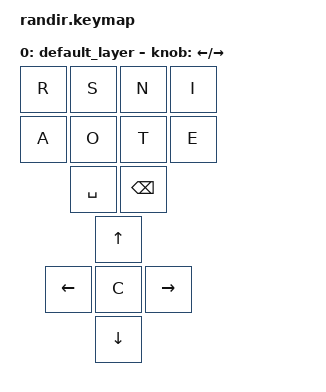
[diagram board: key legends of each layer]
/*
 * Copyright (c) 2020 The ZMK Contributors
 *
 * SPDX-License-Identifier: MIT
 */




#include <behaviors.dtsi>
#include <dt-bindings/zmk/keys.h>
#include <dt-bindings/zmk/bt.h>
#include <dt-bindings/zmk/outputs.h>
//#include <dt-bindings/zmk/ext_power.h>



&sk {
     release-after-ms = <2000>;
     quick-release;
 };

/ {

	macros {
		ZMK_MACRO(m_qu,					wait-ms = <5>;	tap-ms = <5>;		bindings = <&kp Q &kp U>;)
		ZMK_MACRO(m_upper_Qu,			wait-ms = <5>;	tap-ms = <5>;		bindings = <&kp LS(Q) &kp U>;)
		ZMK_MACRO(m_elipsis,			wait-ms = <5>;	tap-ms = <5>;		bindings = <&macro_press	&kp LALT>
    																			, <&macro_tap			&kp KP_N0 &kp KP_N1 &kp KP_N3 &kp KP_N3>
    																			, <&macro_release		&kp LALT &kp SPACE>;)
		ZMK_MACRO(m_degree,				wait-ms = <5>;	tap-ms = <5>;		bindings = <&macro_press	&kp LALT>
    																			, <&macro_tap			&kp KP_N0 &kp KP_N1 &kp KP_N7 &kp KP_N6>
    																			, <&macro_release		&kp LALT>;)
		ZMK_MACRO(m_textIndent,			wait-ms = <5>;	tap-ms = <5>;		bindings = <&kp SPACE &kp MINUS &kp SPACE &kp HOME &kp DOWN >;)		

//		RESPONSIVE ARROWS
		//ZMK_MACRO(m_UP,					ait-ms = <5>;	tap-ms = <5>;		bindings = <&macro_press	&kp UP>;)
																				//, <&macro_tap			&kp UP>
    																			//, <&macro_release		&kp UP>;)

//		RANDOM MACROS
		ZMK_MACRO(m_password1,			wait-ms = <5>;	tap-ms = <5>;		bindings = <&kp A &kp B &kp O &kp U &kp T >;)
		ZMK_MACRO(m_password2,				wait-ms = <5>;	tap-ms = <5>;		bindings = <&kp A &kp B &kp O &kp U &kp T >;)


//		WORD PARTS		
		ZMK_MACRO(m_able,				wait-ms = <5>;	tap-ms = <5>;		bindings = <&kp A &kp B &kp L &kp E >;)
		ZMK_MACRO(m_about,				wait-ms = <5>;	tap-ms = <5>;		bindings = <&kp A &kp B &kp O &kp U &kp T >;)
		ZMK_MACRO(m_ack,				wait-ms = <5>;	tap-ms = <5>;		bindings = <&kp A &kp C &kp K >;)
		ZMK_MACRO(m_aise,				wait-ms = <5>;	tap-ms = <5>;		bindings = <&kp A &kp I &kp S &kp E >;)
		ZMK_MACRO(m_ake,				wait-ms = <5>;	tap-ms = <5>;		bindings = <&kp A &kp K &kp E >;)
		ZMK_MACRO(m_al,					wait-ms = <5>;	tap-ms = <5>;		bindings = <&kp A &kp L >;)
		ZMK_MACRO(m_all,				wait-ms = <5>;	tap-ms = <5>;		bindings = <&kp A &kp L &kp L >;)
		ZMK_MACRO(m_ally,				wait-ms = <5>;	tap-ms = <5>;		bindings = <&kp A &kp L &kp L &kp Y >;)
		ZMK_MACRO(m_also,				wait-ms = <5>;	tap-ms = <5>;		bindings = <&kp A &kp L &kp S &kp O >;)
		ZMK_MACRO(m_and,				wait-ms = <5>;	tap-ms = <5>;		bindings = <&kp A &kp N &kp D >;)
		ZMK_MACRO(m_ange,				wait-ms = <5>;	tap-ms = <5>;		bindings = <&kp A &kp N &kp G &kp E >;)
		ZMK_MACRO(m_are,				wait-ms = <5>;	tap-ms = <5>;		bindings = <&kp A &kp R &kp E >;)
		ZMK_MACRO(m_ation,				wait-ms = <5>;	tap-ms = <5>;		bindings = <&kp A &kp T &kp I &kp O &kp N >;)
		ZMK_MACRO(m_ative,				wait-ms = <5>;	tap-ms = <5>;		bindings = <&kp A &kp T &kp I &kp V &kp E >;)
		ZMK_MACRO(m_ave,				wait-ms = <5>;	tap-ms = <5>;		bindings = <&kp A &kp V &kp E >;)
		
		ZMK_MACRO(m_be,					wait-ms = <5>;	tap-ms = <5>;		bindings = <&kp B &kp E >;)
		ZMK_MACRO(m_because,			wait-ms = <5>;	tap-ms = <5>;		bindings = <&kp B &kp E &kp C &kp A &kp U &kp S &kp E >;)
		
		ZMK_MACRO(m_ch,					wait-ms = <5>;	tap-ms = <5>;		bindings = <&kp C &kp H >;)
		
		ZMK_MACRO(m_day,				wait-ms = <5>;	tap-ms = <5>;		bindings = <&kp D &kp A &kp Y >;)
		ZMK_MACRO(m_dis,				wait-ms = <5>;	tap-ms = <5>;		bindings = <&kp D &kp I &kp S >;)
	
		ZMK_MACRO(m_each,				wait-ms = <5>;	tap-ms = <5>;		bindings = <&kp E &kp A &kp C &kp H >;)
		ZMK_MACRO(m_eal,				wait-ms = <5>;	tap-ms = <5>;		bindings = <&kp E &kp A &kp L >;)
		ZMK_MACRO(m_ear,				wait-ms = <5>;	tap-ms = <5>;		bindings = <&kp E &kp A &kp R >;)
		ZMK_MACRO(m_een,				wait-ms = <5>;	tap-ms = <5>;		bindings = <&kp E &kp E &kp N >;)
		ZMK_MACRO(m_eir,				wait-ms = <5>;	tap-ms = <5>;		bindings = <&kp E &kp I &kp R >;)
		ZMK_MACRO(m_end,				wait-ms = <5>;	tap-ms = <5>;		bindings = <&kp E &kp N &kp D >;)
		ZMK_MACRO(m_ent,				wait-ms = <5>;	tap-ms = <5>;		bindings = <&kp E &kp N &kp T >;)
		ZMK_MACRO(m_ere,				wait-ms = <5>;	tap-ms = <5>;		bindings = <&kp E &kp R &kp E >;)
		ZMK_MACRO(m_ess,				wait-ms = <5>;	tap-ms = <5>;		bindings = <&kp E &kp S &kp S >;)
		ZMK_MACRO(m_ever,				wait-ms = <5>;	tap-ms = <5>;		bindings = <&kp E &kp V &kp E &kp R >;)
		ZMK_MACRO(m_every,				wait-ms = <5>;	tap-ms = <5>;		bindings = <&kp E &kp V &kp E &kp R &kp Y >;)
		
		ZMK_MACRO(m_for,				wait-ms = <5>;	tap-ms = <5>;		bindings = <&kp F &kp O &kp R >;)
		ZMK_MACRO(m_from,				wait-ms = <5>;	tap-ms = <5>;		bindings = <&kp F &kp R &kp O &kp M >;)
		
		ZMK_MACRO(m_has,				wait-ms = <5>;	tap-ms = <5>;		bindings = <&kp H &kp A &kp S >;)
		ZMK_MACRO(m_have,				wait-ms = <5>;	tap-ms = <5>;		bindings = <&kp H &kp A &kp V &kp E >;)
		
		ZMK_MACRO(m_ible,				wait-ms = <5>;	tap-ms = <5>;		bindings = <&kp I &kp B &kp L &kp E >;)
		ZMK_MACRO(m_ice,				wait-ms = <5>;	tap-ms = <5>;		bindings = <&kp I &kp C &kp E >;)
		ZMK_MACRO(m_ich,				wait-ms = <5>;	tap-ms = <5>;		bindings = <&kp I &kp C &kp H >;)
		ZMK_MACRO(m_ies,				wait-ms = <5>;	tap-ms = <5>;		bindings = <&kp I &kp E &kp S >;)
		ZMK_MACRO(m_igh,				wait-ms = <5>;	tap-ms = <5>;		bindings = <&kp I &kp G &kp H >;)
		ZMK_MACRO(m_ight,				wait-ms = <5>;	tap-ms = <5>;		bindings = <&kp I &kp G &kp H &kp T >;)
		ZMK_MACRO(m_ind,				wait-ms = <5>;	tap-ms = <5>;		bindings = <&kp I &kp N &kp D >;)
		ZMK_MACRO(m_ine,				wait-ms = <5>;	tap-ms = <5>;		bindings = <&kp I &kp N &kp E >;)
		ZMK_MACRO(m_ince,				wait-ms = <5>;	tap-ms = <5>;		bindings = <&kp I &kp N &kp C  &kp E >;)
		ZMK_MACRO(m_ing,				wait-ms = <5>;	tap-ms = <5>;		bindings = <&kp I &kp N &kp G >;)
		ZMK_MACRO(m_ion,				wait-ms = <5>;	tap-ms = <5>;		bindings = <&kp I &kp O &kp N >;)
		ZMK_MACRO(m_ious,				wait-ms = <5>;	tap-ms = <5>;		bindings = <&kp I &kp O &kp U &kp S >;)
		ZMK_MACRO(m_irst,				wait-ms = <5>;	tap-ms = <5>;		bindings = <&kp I &kp R &kp S &kp T >;)
		ZMK_MACRO(m_ise,				wait-ms = <5>;	tap-ms = <5>;		bindings = <&kp I &kp S &kp E >;)
		ZMK_MACRO(m_ism,				wait-ms = <5>;	tap-ms = <5>;		bindings = <&kp I &kp S &kp M >;)
		ZMK_MACRO(m_ist,				wait-ms = <5>;	tap-ms = <5>;		bindings = <&kp I &kp S &kp T >;)
		ZMK_MACRO(m_ive,				wait-ms = <5>;	tap-ms = <5>;		bindings = <&kp I &kp V &kp E >;)
		
		ZMK_MACRO(m_ld,					wait-ms = <5>;	tap-ms = <5>;		bindings = <&kp L &kp D >;)
		ZMK_MACRO(m_less,				wait-ms = <5>;	tap-ms = <5>;		bindings = <&kp L &kp E &kp S &kp S >;)
		ZMK_MACRO(m_lly,				wait-ms = <5>;	tap-ms = <5>;		bindings = <&kp L &kp L &kp Y >;)
		ZMK_MACRO(m_ly,					wait-ms = <5>;	tap-ms = <5>;		bindings = <&kp L &kp Y >;)
		
		ZMK_MACRO(m_ment,				wait-ms = <5>;	tap-ms = <5>;		bindings = <&kp M &kp E &kp N &kp T >;)
		
		ZMK_MACRO(m_ness,				wait-ms = <5>;	tap-ms = <5>;		bindings = <&kp N &kp E &kp S &kp S >;)
		
		ZMK_MACRO(m_obvious,			wait-ms = <5>;	tap-ms = <5>;		bindings = <&kp O &kp B &kp V &kp I &kp O &kp U &kp S >;)
		ZMK_MACRO(m_ock,				wait-ms = <5>;	tap-ms = <5>;		bindings = <&kp O &kp C &kp K >;)
		ZMK_MACRO(m_oint,				wait-ms = <5>;	tap-ms = <5>;		bindings = <&kp O &kp I &kp N &kp T >;)
		ZMK_MACRO(m_ome,				wait-ms = <5>;	tap-ms = <5>;		bindings = <&kp O &kp M &kp E >;)
		ZMK_MACRO(m_one,				wait-ms = <5>;	tap-ms = <5>;		bindings = <&kp O &kp N &kp E >;)
		ZMK_MACRO(m_ook,				wait-ms = <5>;	tap-ms = <5>;		bindings = <&kp O &kp O &kp K >;)
		ZMK_MACRO(m_ore,				wait-ms = <5>;	tap-ms = <5>;		bindings = <&kp O &kp R &kp E >;)
		ZMK_MACRO(m_ose,				wait-ms = <5>;	tap-ms = <5>;		bindings = <&kp O &kp S &kp E >;)
		ZMK_MACRO(m_other,				wait-ms = <5>;	tap-ms = <5>;		bindings = <&kp O &kp T &kp H &kp E &kp R >;)
		ZMK_MACRO(m_ough,				wait-ms = <5>;	tap-ms = <5>;		bindings = <&kp O &kp U &kp G &kp H >;)
		ZMK_MACRO(m_ought,				wait-ms = <5>;	tap-ms = <5>;		bindings = <&kp O &kp U &kp G &kp H &kp T >;)
		ZMK_MACRO(m_ould,				wait-ms = <5>;	tap-ms = <5>;		bindings = <&kp O &kp U &kp L &kp D >;)
		ZMK_MACRO(m_our,				wait-ms = <5>;	tap-ms = <5>;		bindings = <&kp O &kp U &kp R >;)
		ZMK_MACRO(m_ous,				wait-ms = <5>;	tap-ms = <5>;		bindings = <&kp O &kp U &kp S >;)
		ZMK_MACRO(m_ouse,				wait-ms = <5>;	tap-ms = <5>;		bindings = <&kp O &kp U &kp S &kp E >;)
		ZMK_MACRO(m_out,				wait-ms = <5>;	tap-ms = <5>;		bindings = <&kp O &kp U &kp T >;)
		
		ZMK_MACRO(m_pra,				wait-ms = <5>;	tap-ms = <5>;		bindings = <&kp P &kp R &kp A >;)
		ZMK_MACRO(m_pre,				wait-ms = <5>;	tap-ms = <5>;		bindings = <&kp P &kp R &kp E >;)
		ZMK_MACRO(m_pro,				wait-ms = <5>;	tap-ms = <5>;		bindings = <&kp P &kp R &kp O >;)
		ZMK_MACRO(m_psy,				wait-ms = <5>;	tap-ms = <5>;		bindings = <&kp P &kp S &kp Y >;)
		ZMK_MACRO(m_psych,				wait-ms = <5>;	tap-ms = <5>;		bindings = <&kp P &kp S &kp Y &kp C &kp H >;)
		
		ZMK_MACRO(m_rst,				wait-ms = <5>;	tap-ms = <5>;		bindings = <&kp R &kp S &kp T >;)
		
		ZMK_MACRO(m_sh,					wait-ms = <5>;	tap-ms = <5>;		bindings = <&kp S &kp H >;)
		ZMK_MACRO(m_sm,					wait-ms = <5>;	tap-ms = <5>;		bindings = <&kp S &kp M >;)
		
		ZMK_MACRO(m_than,				wait-ms = <5>;	tap-ms = <5>;		bindings = <&kp T &kp H &kp A &kp N >;)
		ZMK_MACRO(m_that,				wait-ms = <5>;	tap-ms = <5>;		bindings = <&kp T &kp H &kp A &kp T >;)
		ZMK_MACRO(m_then,				wait-ms = <5>;	tap-ms = <5>;		bindings = <&kp T &kp H &kp E &kp N >;)
		ZMK_MACRO(m_there,				wait-ms = <5>;	tap-ms = <5>;		bindings = <&kp T &kp H &kp E &kp R &kp E >;)
		ZMK_MACRO(m_these,				wait-ms = <5>;	tap-ms = <5>;		bindings = <&kp T &kp H &kp E &kp S &kp E >;)
		ZMK_MACRO(m_thin,				wait-ms = <5>;	tap-ms = <5>;		bindings = <&kp T &kp H &kp I &kp N >;)
		ZMK_MACRO(m_this,				wait-ms = <5>;	tap-ms = <5>;		bindings = <&kp T &kp H &kp I &kp S >;)
		ZMK_MACRO(m_thr,				wait-ms = <5>;	tap-ms = <5>;		bindings = <&kp T &kp H &kp R >;)
		ZMK_MACRO(m_tion,				wait-ms = <5>;	tap-ms = <5>;		bindings = <&kp T &kp I &kp O &kp N >;)
		ZMK_MACRO(m_tive,				wait-ms = <5>;	tap-ms = <5>;		bindings = <&kp T &kp I &kp V &kp E >;)
		ZMK_MACRO(m_ttle,				wait-ms = <5>;	tap-ms = <5>;		bindings = <&kp T &kp T &kp L &kp E >;)
		
		ZMK_MACRO(m_uch,				wait-ms = <5>;	tap-ms = <5>;		bindings = <&kp U &kp C &kp H >;)
		ZMK_MACRO(m_uous,				wait-ms = <5>;	tap-ms = <5>;		bindings = <&kp U &kp O &kp U &kp S >;)
		
		ZMK_MACRO(m_was,				wait-ms = <5>;	tap-ms = <5>;		bindings = <&kp W &kp A &kp S >;)
		ZMK_MACRO(m_we,					wait-ms = <5>;	tap-ms = <5>;		bindings = <&kp W &kp E >;)
		ZMK_MACRO(m_wh,					wait-ms = <5>;	tap-ms = <5>;		bindings = <&kp W &kp H >;)
		ZMK_MACRO(m_what,				wait-ms = <5>;	tap-ms = <5>;		bindings = <&kp W &kp H &kp A &kp T >;)
		ZMK_MACRO(m_when,				wait-ms = <5>;	tap-ms = <5>;		bindings = <&kp W &kp H &kp E &kp N >;)
		ZMK_MACRO(m_with,				wait-ms = <5>;	tap-ms = <5>;		bindings = <&kp W &kp I &kp T &kp H >;)
		ZMK_MACRO(m_your,				wait-ms = <5>;	tap-ms = <5>;		bindings = <&kp Y &kp O &kp U &kp R >;)

	};

	combos {
		compatible = "zmk,combos";
		
//
//	Key Position Map						
//	┌────┬────┬────┬────┐
//	| 0  | 1  | 2  | 3  |
//	├────┼────┼────┼────┤
//	| 4  | 5  | 6  | 7  |
//	└────┴────┴────┴────┼────┬────┐
//						| 8  | 9  |
//			    		└────┴────┘
//					┌────┐
//					| 10 | 
//		       ┌────┼────┼────┐
//		       | 11 | 12 | 13 |
//		       └────┴────┴────┘
//			    	| 14 | 
//			    	└────┘
// 
//		LOWERCASE LETTERS
		combo_b				{timeout-ms = <500>;	key-positions = <0 1>;			bindings = <&kp B >;};
		combo_c				{timeout-ms = <500>;	key-positions = <5 7>;			bindings = <&kp C >;};
		combo_d				{timeout-ms = <500>;	key-positions = <4 7>;			bindings = <&kp D >;};
		combo_f				{timeout-ms = <500>;	key-positions = <1 3>;			bindings = <&kp F >;};
		combo_g				{timeout-ms = <500>;	key-positions = <0 3>;			bindings = <&kp G >;};
		combo_h				{timeout-ms = <500>;	key-positions = <6 7>;			bindings = <&kp H >;};
		combo_j				{timeout-ms = <500>;	key-positions = <2 4>;			bindings = <&kp J >;};
		combo_k				{timeout-ms = <500>;	key-positions = <3 5>;			bindings = <&kp K >;};
		combo_l				{timeout-ms = <500>;	key-positions = <4 5>;			bindings = <&kp L >;};
		combo_m				{timeout-ms = <500>;	key-positions = <0 7>;			bindings = <&kp M >;};
		combo_p				{timeout-ms = <500>;	key-positions = <1 2>;			bindings = <&kp P >;};
		combo_qu			{timeout-ms = <500>;	key-positions = <4 6>;			bindings = <&m_qu >;};				//	Macro
		combo_u				{timeout-ms = <500>;	key-positions = <5 6>;			bindings = <&kp U >;};
		combo_v				{timeout-ms = <500>;	key-positions = <1 7>;			bindings = <&kp V >;};
		combo_w				{timeout-ms = <500>;	key-positions = <3 4>;			bindings = <&kp W >;};
		combo_x				{timeout-ms = <500>;	key-positions = <0 6>;			bindings = <&kp X >;};
		combo_y				{timeout-ms = <500>;	key-positions = <2 3>;			bindings = <&kp Y >;};
		combo_z				{timeout-ms = <500>;	key-positions = <0 2>;			bindings = <&kp Z >;};


//		UPPERCASE LETTERS
		combo_upper_A		{timeout-ms = <500>;	key-positions = <4 8>;			bindings = <&kp LS(A) >;};
		combo_upper_B		{timeout-ms = <500>;	key-positions = <0 1 8>;		bindings = <&kp LS(B) >;};
		combo_upper_C		{timeout-ms = <500>;	key-positions = <5 7 8>;		bindings = <&kp LS(C) >;};
		combo_upper_D		{timeout-ms = <500>;	key-positions = <4 7 8>;		bindings = <&kp LS(D) >;};
		combo_upper_E		{timeout-ms = <500>;	key-positions = <7 8>;			bindings = <&kp LS(E) >;};
		combo_upper_F		{timeout-ms = <500>;	key-positions = <1 3 8>;		bindings = <&kp LS(F) >;};
		combo_upper_G		{timeout-ms = <500>;	key-positions = <0 3 8>;		bindings = <&kp LS(G) >;};
		combo_upper_H		{timeout-ms = <500>;	key-positions = <6 7 8>;		bindings = <&kp LS(H) >;};
		combo_upper_I		{timeout-ms = <500>;	key-positions = <3 8>;			bindings = <&kp LS(I) >;};
		combo_upper_J		{timeout-ms = <500>;	key-positions = <2 4 8>;		bindings = <&kp LS(J) >;};
		combo_upper_K		{timeout-ms = <500>;	key-positions = <3 5 8>;		bindings = <&kp LS(K) >;};
		combo_upper_L		{timeout-ms = <500>;	key-positions = <4 5 8>;		bindings = <&kp LS(L) >;};
		combo_upper_M		{timeout-ms = <500>;	key-positions = <0 7 8>;		bindings = <&kp LS(M) >;};
		combo_upper_N		{timeout-ms = <500>;	key-positions = <2 8>;			bindings = <&kp LS(N) >;};
		combo_upper_O		{timeout-ms = <500>;	key-positions = <5 8>;			bindings = <&kp LS(O) >;};
		combo_upper_P		{timeout-ms = <500>;	key-positions = <1 2 8>;		bindings = <&kp LS(P) >;};
		combo_upper_Qu		{timeout-ms = <500>;	key-positions = <4 6 8>;		bindings = <&m_upper_Qu >;};		//	Macro
		combo_upper_R		{timeout-ms = <500>;	key-positions = <0 8>;			bindings = <&kp LS(R) >;};
		combo_upper_S		{timeout-ms = <500>;	key-positions = <1 8>;			bindings = <&kp LS(S) >;};
		combo_upper_T		{timeout-ms = <500>;	key-positions = <6 8>;			bindings = <&kp LS(T) >;};
		combo_upper_U		{timeout-ms = <500>;	key-positions = <5 6 8>;		bindings = <&kp LS(U) >;};
		combo_upper_V		{timeout-ms = <500>;	key-positions = <1 7 8>;		bindings = <&kp LS(V) >;};
		combo_upper_W		{timeout-ms = <500>;	key-positions = <3 4 8>;		bindings = <&kp LS(W) >;};
		combo_upper_X		{timeout-ms = <500>;	key-positions = <0 6 8>;		bindings = <&kp LS(X) >;};
		combo_upper_Y		{timeout-ms = <500>;	key-positions = <2 3 8>;		bindings = <&kp LS(Y) >;};
		combo_upper_Z		{timeout-ms = <500>;	key-positions = <0 2 8>;		bindings = <&kp LS(Z) >;};

//		PUNCTUATION
		combo_QUESTION		{timeout-ms = <500>;	key-positions = <0 5>;			bindings = <&kp QUESTION >;};						//	?
		combo_EXCLAMATION	{timeout-ms = <500>;	key-positions = <0 5 8>;		bindings = <&kp EXCLAMATION >;};					//	!
		combo_DOT			{timeout-ms = <500>;	key-positions = <3 6>;			bindings = <&kp DOT >;};							//	.
		combo_COMMA			{timeout-ms = <500>;	key-positions = <2 7>;			bindings = <&kp COMMA >;};							//	,
		combo_COLON			{timeout-ms = <500>;	key-positions = <3 6 8>;		bindings = <&kp COLON >;};							//	:
		combo_SEMICOLON		{timeout-ms = <500>;	key-positions = <2 7 8>;		bindings = <&kp SEMICOLON >;};						//	;
		combo_APOSTROPHE	{timeout-ms = <500>;	key-positions = <1 4>;			bindings = <&kp APOSTROPHE >;};						//	'
		combo_DOUBLE_QUOTES	{timeout-ms = <500>;	key-positions = <1 4 8>;		bindings = <&kp DOUBLE_QUOTES >;};					//	"
		combo_ELIPSIS		{timeout-ms = <500>;	key-positions = <3 6 9>;		bindings = <&m_elipsis >;};							//	Macro …
		combo_GRAVE			{timeout-ms = <500>;	key-positions = <1 4 9>;		bindings = <&kp GRAVE >;};							//	`
		combo_DEGREE		{timeout-ms = <500>;	key-positions = <2 7 9>;		bindings = <&m_degree >;};							//	Macro °

//		SYMBOLS
		combo_SLASH			{timeout-ms = <500>;	key-positions = <1 6 8>;		bindings = <&kp SLASH >;};							//	/
		combo_BACKSLASH		{timeout-ms = <500>;	key-positions = <1 6>;			bindings = <&kp BACKSLASH >;};						//	\'
		combo_PIPE			{timeout-ms = <500>;	key-positions = <1 6 9>;		bindings = <&kp PIPE >;};							//	|
		combo_LEFT_BRACKET	{timeout-ms = <500>;	key-positions = <0 1 9>;		bindings = <&kp LEFT_BRACKET >;};					//	[
		combo_RIGHT_BRACKET	{timeout-ms = <500>;	key-positions = <2 3 9>;		bindings = <&kp RIGHT_BRACKET >;};					//	]
		combo_LPAR			{timeout-ms = <500>;	key-positions = <4 5 9>;		bindings = <&kp LEFT_PARENTHESIS >;};				//	(
		combo_RPAR			{timeout-ms = <500>;	key-positions = <6 7 9>;		bindings = <&kp RIGHT_PARENTHESIS >;};				//	)
		combo_LEFT_BRACE	{timeout-ms = <500>;	key-positions = <0 2 9>;		bindings = <&kp LEFT_BRACE >;};						//	{
		combo_RIGHT_BRACE	{timeout-ms = <500>;	key-positions = <1 3 9>;		bindings = <&kp RIGHT_BRACE >;};					//	}
		combo_LESS_THAN		{timeout-ms = <500>;	key-positions = <4 6 9>;		bindings = <&kp LESS_THAN >;};						//	<
		combo_GREATER_THAN	{timeout-ms = <500>;	key-positions = <5 7 9>;		bindings = <&kp GREATER_THAN >;};					//	>
		combo_CARET			{timeout-ms = <500>;	key-positions = <0 6 9>;		bindings = <&kp CARET >;};							//	^
		combo_TILDE			{timeout-ms = <500>;	key-positions = <2 5 9>;		bindings = <&kp TILDE >;};							//	~
		combo_HASH			{timeout-ms = <500>;	key-positions = <4 7 9>;		bindings = <&kp HASH >;};							//	#
		combo_DOLLAR		{timeout-ms = <500>;	key-positions = <0 7 9>;		bindings = <&kp DOLLAR >;};							//	$
		combo_PERCENT		{timeout-ms = <500>;	key-positions = <0 5 9>;		bindings = <&kp PERCENT >;};						//	%
		combo_ASTERISK		{timeout-ms = <500>;	key-positions = <1 7 9>;		bindings = <&kp ASTERISK >;};						//	*
		combo_PLUS			{timeout-ms = <500>;	key-positions = <3 5 9>;		bindings = <&kp PLUS >;};							//	+
		combo_EQUAL			{timeout-ms = <500>;	key-positions = <2 4 9>;		bindings = <&kp EQUAL >;};							//	=
		combo_MINUS			{timeout-ms = <500>;	key-positions = <2 5>;			bindings = <&kp MINUS >;};							//	-
		combo_AMPERSAND		{timeout-ms = <500>;	key-positions = <3 4 9>;		bindings = <&kp AMPERSAND >;};						//	&
		combo_AT			{timeout-ms = <500>;	key-positions = <0 3 9>;		bindings = <&kp AT >;};								//	@
		combo_UNDERSCORE	{timeout-ms = <500>;	key-positions = <2 5 8>;		bindings = <&kp UNDERSCORE >;};						//	_
		combo_TextIndent	{timeout-ms = <500>;	key-positions = <2 5 9 8>;		bindings = <&m_textIndent>;};						//	Macro " - "



//		NUMBERS
		combo_1				{timeout-ms = <500>;	key-positions = <0 9>;			bindings = <&kp NUMBER_1 >;};
		combo_2				{timeout-ms = <500>;	key-positions = <1 9>;			bindings = <&kp NUMBER_2 >;};
		combo_3				{timeout-ms = <500>;	key-positions = <2 9>;			bindings = <&kp NUMBER_3 >;};
		combo_4				{timeout-ms = <500>;	key-positions = <3 9>;			bindings = <&kp NUMBER_4 >;};
		combo_5				{timeout-ms = <500>;	key-positions = <4 9>;			bindings = <&kp NUMBER_5 >;};
		combo_6				{timeout-ms = <500>;	key-positions = <5 9>;			bindings = <&kp NUMBER_6 >;};
		combo_7				{timeout-ms = <500>;	key-positions = <6 9>;			bindings = <&kp NUMBER_7 >;};
		combo_8				{timeout-ms = <500>;	key-positions = <7 9>;			bindings = <&kp NUMBER_8 >;};
		combo_9				{timeout-ms = <500>;	key-positions = <1 2 9>;		bindings = <&kp NUMBER_9 >;};
		combo_0				{timeout-ms = <500>;	key-positions = <5 6 9>;		bindings = <&kp NUMBER_0 >;};

//		FUNCTION KEYS
		combo_F1			{timeout-ms = <500>;	key-positions = <0 9 8>;		bindings = <&kp F1>;};		//	
		combo_F2			{timeout-ms = <500>;	key-positions = <1 9 8>;		bindings = <&kp F2>;};		//	
		combo_F3			{timeout-ms = <500>;	key-positions = <2 9 8>;		bindings = <&kp F3>;};		//	
		combo_F4			{timeout-ms = <500>;	key-positions = <3 9 8>;		bindings = <&kp F4>;};		//	
		combo_F5			{timeout-ms = <500>;	key-positions = <4 9 8>;		bindings = <&kp F5>;};		//	
		combo_F6			{timeout-ms = <500>;	key-positions = <5 9 8>;		bindings = <&kp F6>;};		//	
		combo_F7			{timeout-ms = <500>;	key-positions = <6 9 8>;		bindings = <&kp F7>;};		//	
		combo_F8			{timeout-ms = <500>;	key-positions = <7 9 8>;		bindings = <&kp F8>;};		//	
		combo_F9			{timeout-ms = <500>;	key-positions = <1 2 9 8>;		bindings = <&kp F9>;};		//	
		combo_F10			{timeout-ms = <500>;	key-positions = <5 6 9 8>;		bindings = <&kp F10>;};		//	
		combo_F11			{timeout-ms = <500>;	key-positions = <0 1 9 8>;		bindings = <&kp F11>;};		//	
		combo_F12			{timeout-ms = <500>;	key-positions = <2 3 9 8>;		bindings = <&kp F12>;};		//	

//		NAVIGATION
		combo_PAGE_UP		{timeout-ms = <500>;	key-positions = <0 1 2 9>;		bindings = <&kp PAGE_UP >;};
		combo_PAGE_DOWN		{timeout-ms = <500>;	key-positions = <4 5 6 9>;		bindings = <&kp PAGE_DOWN >;};
		combo_HOME			{timeout-ms = <500>;	key-positions = <1 5 8>;		bindings = <&kp HOME >;};
		combo_END			{timeout-ms = <500>;	key-positions = <1 5 9>;		bindings = <&kp END >;};

//		CONTROL AND WHITESPACES
		combo_ENTER			{timeout-ms = <500>;	key-positions = <5 6 7>;		bindings = <&kp ENTER >;};
		combo_TAB			{timeout-ms = <500>;	key-positions = <4 5 6>;		bindings = <&kp TAB >;};
		combo_BACKSPACE		{timeout-ms = <500>;	key-positions = <1 2 3>;		bindings = <&kp LC(BACKSPACE) >;};
		combo_DELETE		{timeout-ms = <500>;	key-positions = <0 1 2>;		bindings = <&kp DELETE >;};
		combo_ESCAPE		{timeout-ms = <500>;	key-positions = <0 1 2 4>;		bindings = <&kp ESCAPE >;};
		
//		MODIFIERS
		combo_LCTRL			{timeout-ms = <500>;	key-positions = <0 4>;			bindings = <&kp LEFT_CONTROL >;};
		combo_LSHFT			{timeout-ms = <500>;	key-positions = <1 5>;			bindings = <&kp LEFT_SHIFT >;};
		combo_LALT			{timeout-ms = <500>;	key-positions = <3 7>;			bindings = <&kp LEFT_ALT >;};
		combo_LGUI			{timeout-ms = <500>;	key-positions = <2 6>;			bindings = <&kp LEFT_WIN >;};		
		combo_CTRLSHFT		{timeout-ms = <500>;	key-positions = <0 1 4 5>;		bindings = <&kp LC(LEFT_SHIFT) >;};
		combo_CAPS			{timeout-ms = <500>;	key-positions = <1 5 8>;		bindings = <&kp CAPS>;};		



//		NEAT SHORTCUTS
		combo_CTRLDELETE	{timeout-ms = <500>;	key-positions = <0 1 2 8>;		bindings = <&kp LC(DELETE) >;};			//  Delete the Next word
		combo_CTRLBACKSPACE	{timeout-ms = <500>;	key-positions = <1 2 3 8>;		bindings = <&kp LC(BACKSPACE)>;};		//  Delete the previous word
		combo_SHIFTTAB		{timeout-ms = <500>;	key-positions = <4 5 6 8>;		bindings = <&kp LS(TAB) >;};			//  Shift tab - previous tab space
		combo_CTRLALTDEL	{timeout-ms = <500>;	key-positions = <0 1 2 9 8>;	bindings = <&kp LC(LA(DELETE)) >;};		//	Control Alt Delete
		combo_CTRL_F4		{timeout-ms = <500>;	key-positions = <0 4 9 8>;		bindings = <&kp LC(F4) >;};				//	Close tab
		combo_ALT_F4		{timeout-ms = <500>;	key-positions = <3 7 9 8>;		bindings = <&kp LA(F4) >;};				//	Close program
		combo_UNDO			{timeout-ms = <500>;	key-positions = <0 1 2 4 5 6>;	bindings = <&kp LC(Z)>;};				//	Undo
		combo_REDO			{timeout-ms = <500>;	key-positions = <1 2 3 5 6 7>;	bindings = <&kp LC(Y)>;};				//	Redo
		combo_COPY			{timeout-ms = <500>;	key-positions = <0 2 4>;		bindings = <&kp LC(C)>;};				//	"
		combo_CUT			{timeout-ms = <500>;	key-positions = <0 1 4>;		bindings = <&kp LC(X)>;};		//	"
		combo_PASTE			{timeout-ms = <500>;	key-positions = <0 3 4>;		bindings = <&kp LC(V)>;};		//	"



		combo_BOLD			{timeout-ms = <500>;	key-positions = <0 1 4 8>;		bindings = <&kp LC(B)>;};				//	"
		combo_ITALIC		{timeout-ms = <500>;	key-positions = <0 3 4 8>;		bindings = <&kp LC(I)>;};				//	"
		combo_UNDERLINE		{timeout-ms = <500>;	key-positions = <0 2 4 8>;		bindings = <&kp LC(U)>;};				//	"

//		COMPUTER POWER
//		combo_reset			{timeout-ms = <500>;	key-positions = <0 1 2 3 9>;	bindings = <&c_RESET>;};		//	"	527	0 1 2 3 8	
		combo_lock			{timeout-ms = <500>;	key-positions = <0 1 2 3 8>;	bindings = <&kp LG(L) >;};		//	"	783	0 1 2 3 9 8	
//		combo_shutdown		{timeout-ms = <500>;	key-positions = <0 1 2 3 9 8>;	bindings = <&C_POWER>;};		//	"
						

//		RANDOM USEFUL MACROS
		combo_MACRO1		{timeout-ms = <500>;	key-positions = <0 1 2 3 4 5 6 7>;		bindings = <&kp C >;};		//	
		combo_MACRO2		{timeout-ms = <500>;	key-positions = <0 1 2 3>;				bindings = <&kp V >;};		//	


//		LAYERS
		combo_L0			{timeout-ms = <500>;	key-positions = <2 3 6 7>;		bindings = <&kp NUMBER_0>;};		//	NO THUMB - 
		combo_L1			{timeout-ms = <500>;	key-positions = <2 3 6 7 8>;	bindings = <&kp NUMBER_1>;};		//	
		combo_L2			{timeout-ms = <500>;	key-positions = <2 3 6 7 9>;	bindings = <&kp NUMBER_2>;};		//	
		combo_L3			{timeout-ms = <500>;	key-positions = <2 3 6 7 9 8>;	bindings = <&kp NUMBER_3>;};		//	
		combo_L4			{timeout-ms = <500>;	key-positions = <1 3 5 7>;		bindings = <&kp NUMBER_4>;};		//  NO THUMB - 
		combo_L5			{timeout-ms = <500>;	key-positions = <1 3 5 7 8>;	bindings = <&kp NUMBER_5>;};		//	
		combo_L6			{timeout-ms = <500>;	key-positions = <1 3 5 7 9>;	bindings = <&kp NUMBER_6>;};		//	
		combo_L7			{timeout-ms = <500>;	key-positions = <1 3 5 7 9 8>;	bindings = <&kp NUMBER_7>;};		//	
		combo_L8			{timeout-ms = <500>;	key-positions = <0 3 4 7>;		bindings = <&kp NUMBER_8>;};		//  NO THUMB - 
		combo_L9			{timeout-ms = <500>;	key-positions = <0 3 4 7 8>;	bindings = <&kp NUMBER_9>;};		//	
		combo_L10			{timeout-ms = <500>;	key-positions = <0 3 4 7 9>;	bindings = <&kp NUMBER_0>;};		//	
		combo_L11			{timeout-ms = <500>;	key-positions = <0 3 4 7 9 8>;	bindings = <&kp NUMBER_0>;};		//	

//		KEYBOARD CONTROL
		combo_BT1			{timeout-ms = <500>;	key-positions = <0 1 2 3 4 5 6 7 11>;	bindings = <&bt BT_SEL 0>;};		//	
		combo_BT2			{timeout-ms = <500>;	key-positions = <0 1 2 3 4 5 6 7 12>;	bindings = <&bt BT_SEL 2>;};		//	
		combo_BT3			{timeout-ms = <500>;	key-positions = <0 1 2 3 4 5 6 7 13>;	bindings = <&bt BT_SEL 3>;};		//	
		combo_BT4			{timeout-ms = <500>;	key-positions = <0 1 2 3 4 5 6 7 14>;	bindings = <&bt BT_SEL 4>;};		//	
		combo_BT5			{timeout-ms = <500>;	key-positions = <0 1 2 3 4 5 6 7 10>;	bindings = <&bt BT_SEL 5>;};		//	
		combo_ResetKB		{timeout-ms = <500>;	key-positions = <0 1 2 3 4 5 6 7 9 8>;	bindings = <&bootloader >;};		//	
		combo_BT			{timeout-ms = <500>;	key-positions = <0 1 2 3 4 5 6 7 8>;	bindings = <&out OUT_BLE >;};		//	
		combo_USB			{timeout-ms = <500>;	key-positions = <0 1 2 3 4 5 6 7 9>;	bindings = <&out OUT_USB >;};		//	
		combo_BT_CLEAR		{timeout-ms = <500>;	key-positions = <0 1 2 10>;				bindings = <&bt BT_CLR>;};		//	



//		WORD PARTS
		combo_able			{timeout-ms = <500>;	key-positions = <0 1 4 5 7>;	bindings = <&m_able >;};
		combo_about			{timeout-ms = <500>;	key-positions = <0 1 4 5 6>;	bindings = <&m_about >;};
		combo_ack			{timeout-ms = <500>;	key-positions = <3 4 5 7 8>;	bindings = <&m_ack >;};
		combo_aise			{timeout-ms = <500>;	key-positions = <1 3 4 7 8>;	bindings = <&m_aise >;};
		combo_ake			{timeout-ms = <500>;	key-positions = <3 4 5 7>;		bindings = <&m_ake >;};
		combo_al			{timeout-ms = <500>;	key-positions = <0 4 5 8>;		bindings = <&m_al >;};
		combo_all			{timeout-ms = <500>;	key-positions = <0 4 5>;		bindings = <&m_all >;};
		combo_ally			{timeout-ms = <500>;	key-positions = <2 3 4 5 9>;	bindings = <&m_ally >;};
		combo_also			{timeout-ms = <500>;	key-positions = <1 4 5 6 7>;	bindings = <&m_also >;};
		combo_and			{timeout-ms = <500>;	key-positions = <2 4 7>;		bindings = <&m_and >;};
		combo_ange			{timeout-ms = <500>;	key-positions = <0 2 3 4 7>;	bindings = <&m_ange >;};
		combo_are			{timeout-ms = <500>;	key-positions = <0 4 7>;		bindings = <&m_are >;};
		combo_ation			{timeout-ms = <500>;	key-positions = <2 3 4 5 6>;	bindings = <&m_ation >;};
		combo_ative			{timeout-ms = <500>;	key-positions = <1 3 4 6 7>;	bindings = <&m_ative >;};
		combo_ave			{timeout-ms = <500>;	key-positions = <1 4 7>;		bindings = <&m_ave >;};
		combo_be			{timeout-ms = <500>;	key-positions = <0 1 7 8>;		bindings = <&m_be >;};
		combo_because		{timeout-ms = <500>;	key-positions = <0 1 4 5 6 7>;	bindings = <&m_because >;};
		combo_ch			{timeout-ms = <500>;	key-positions = <5 6 7 8>;		bindings = <&m_ch >;};
		combo_day			{timeout-ms = <500>;	key-positions = <2 3 4 7>;		bindings = <&m_day >;};
		combo_dis			{timeout-ms = <500>;	key-positions = <1 3 4 7>;		bindings = <&m_dis >;};
		combo_each			{timeout-ms = <500>;	key-positions = <4 5 6 7>;		bindings = <&m_each >;};
		combo_eal			{timeout-ms = <500>;	key-positions = <4 5 7>;		bindings = <&m_eal >;};
		combo_ear			{timeout-ms = <500>;	key-positions = <0 4 7 8>;		bindings = <&m_ear >;};
		combo_een			{timeout-ms = <500>;	key-positions = <2 6 7 8>;		bindings = <&m_een >;};
		combo_eir			{timeout-ms = <500>;	key-positions = <0 3 7>;		bindings = <&m_eir >;};
		combo_end2			{timeout-ms = <500>;	key-positions = <2 4 7 8>;		bindings = <&m_end >;};
		combo_ent			{timeout-ms = <500>;	key-positions = <2 6 7>;		bindings = <&m_ent >;};
		combo_ere			{timeout-ms = <500>;	key-positions = <0 6 7 8>;		bindings = <&m_ere >;};
		combo_ess			{timeout-ms = <500>;	key-positions = <1 2 7>;		bindings = <&m_ess >;};
		combo_ever			{timeout-ms = <500>;	key-positions = <0 1 7>;		bindings = <&m_ever >;};
		combo_every			{timeout-ms = <500>;	key-positions = <0 1 2 3 7>;	bindings = <&m_every >;};
		combo_for			{timeout-ms = <500>;	key-positions = <0 1 3 5>;		bindings = <&m_for >;};
		combo_from			{timeout-ms = <500>;	key-positions = <0 1 3 5 7>;	bindings = <&m_from >;};
		combo_has			{timeout-ms = <500>;	key-positions = <1 4 6 7 8>;	bindings = <&m_has >;};
		combo_have			{timeout-ms = <500>;	key-positions = <1 4 6 7>;		bindings = <&m_have >;};
		combo_ible			{timeout-ms = <500>;	key-positions = <0 1 4 5 7 8>;	bindings = <&m_ible >;};
		combo_ice			{timeout-ms = <500>;	key-positions = <3 5 7>;		bindings = <&m_ice >;};
		combo_ich			{timeout-ms = <500>;	key-positions = <0 3 4 5 6 7>;	bindings = <&m_ich >;};
		combo_ies			{timeout-ms = <500>;	key-positions = <1 3 7 8>;		bindings = <&m_ies >;};
		combo_igh			{timeout-ms = <500>;	key-positions = <0 3 6 7>;		bindings = <&m_igh >;};
		combo_ight			{timeout-ms = <500>;	key-positions = <0 3 6 7 8>;	bindings = <&m_ight >;};
		combo_ind			{timeout-ms = <500>;	key-positions = <2 3 4 7 8>;	bindings = <&m_ind >;};
		combo_ine			{timeout-ms = <500>;	key-positions = <3 6 7>;		bindings = <&m_ine >;};
		combo_ince			{timeout-ms = <500>;	key-positions = <3 5 6 7>;		bindings = <&m_ince >;};
		combo_ing			{timeout-ms = <500>;	key-positions = <0 2 3>;		bindings = <&m_ing >;};
		combo_ion			{timeout-ms = <500>;	key-positions = <2 3 5>;		bindings = <&m_ion >;};
		combo_ious			{timeout-ms = <500>;	key-positions = <0 1 5 6>;		bindings = <&m_ious >;};
		combo_irst			{timeout-ms = <500>;	key-positions = <0 1 3 6>;		bindings = <&m_irst >;};
		combo_ise			{timeout-ms = <500>;	key-positions = <1 3 7>;		bindings = <&m_ise >;};
		combo_ism			{timeout-ms = <500>;	key-positions = <0 2 7>;		bindings = <&m_ism >;};
		combo_ist			{timeout-ms = <500>;	key-positions = <1 3 6>;		bindings = <&m_ist >;};
		combo_ive			{timeout-ms = <500>;	key-positions = <1 3 7 9>;		bindings = <&m_ive >;};
		combo_ld			{timeout-ms = <500>;	key-positions = <4 5 7 8>;		bindings = <&m_ld >;};
		combo_less			{timeout-ms = <500>;	key-positions = <1 2 7 9>;		bindings = <&m_less >;};
		combo_lly			{timeout-ms = <500>;	key-positions = <2 3 4 5 8>;	bindings = <&m_lly >;};
		combo_ly			{timeout-ms = <500>;	key-positions = <2 3 4 5>;		bindings = <&m_ly >;};
		combo_ment			{timeout-ms = <500>;	key-positions = <0 2 6 7>;		bindings = <&m_ment >;};
		combo_ness			{timeout-ms = <500>;	key-positions = <1 2 7 8>;		bindings = <&m_ness >;};
		combo_obvious		{timeout-ms = <500>;	key-positions = <0 1 3 5 6 7>;	bindings = <&m_obvious >;};
		combo_ock			{timeout-ms = <500>;	key-positions = <3 5 7 8>;		bindings = <&m_ock >;};
		combo_oint			{timeout-ms = <500>;	key-positions = <2 3 5 6 8>;	bindings = <&m_oint >;};
		combo_ome			{timeout-ms = <500>;	key-positions = <0 5 7>;		bindings = <&m_ome >;};
		combo_one			{timeout-ms = <500>;	key-positions = <2 5 7>;		bindings = <&m_one >;};
		combo_ook			{timeout-ms = <500>;	key-positions = <1 3 5>;		bindings = <&m_ook >;};
		combo_ore			{timeout-ms = <500>;	key-positions = <0 5 7 8>;		bindings = <&m_ore >;};
		combo_ose			{timeout-ms = <500>;	key-positions = <1 5 7>;		bindings = <&m_ose >;};
		combo_other			{timeout-ms = <500>;	key-positions = <0 5 6 7>;		bindings = <&m_other >;};
		combo_ough			{timeout-ms = <500>;	key-positions = <0 3 5 6 7>;	bindings = <&m_ough >;};
		combo_ought			{timeout-ms = <500>;	key-positions = <0 3 5 6 7 8>;	bindings = <&m_ought >;};
		combo_ould			{timeout-ms = <500>;	key-positions = <4 5 6 7 8>;	bindings = <&m_ould >;};
		combo_our			{timeout-ms = <500>;	key-positions = <0 5 6>;		bindings = <&m_our >;};
		combo_ous			{timeout-ms = <500>;	key-positions = <1 5 6>;		bindings = <&m_ous >;};
		combo_ouse			{timeout-ms = <500>;	key-positions = <1 5 6 7>;		bindings = <&m_ouse >;};
		combo_out			{timeout-ms = <500>;	key-positions = <2 5 6>;		bindings = <&m_out >;};
		combo_pra			{timeout-ms = <500>;	key-positions = <0 1 2 4>;		bindings = <&m_pra >;};
		combo_pre			{timeout-ms = <500>;	key-positions = <0 1 2 7>;		bindings = <&m_pre >;};
		combo_pro			{timeout-ms = <500>;	key-positions = <0 1 2 5>;		bindings = <&m_pro >;};
		combo_psy			{timeout-ms = <500>;	key-positions = <1 2 3 6>;		bindings = <&m_psy >;};
		combo_psych			{timeout-ms = <500>;	key-positions = <1 2 3 6 8>;	bindings = <&m_psych >;};
		combo_rst			{timeout-ms = <500>;	key-positions = <0 1 6>;		bindings = <&m_rst >;};
		combo_sh			{timeout-ms = <500>;	key-positions = <1 6 7>;		bindings = <&m_sh >;};
		combo_sm			{timeout-ms = <500>;	key-positions = <0 1 7 9>;		bindings = <&m_sm >;};
		combo_than			{timeout-ms = <500>;	key-positions = <2 4 6 7>;		bindings = <&m_than >;};
		combo_that			{timeout-ms = <500>;	key-positions = <4 6 7>;		bindings = <&m_that >;};
		combo_then			{timeout-ms = <500>;	key-positions = <2 4 6 7 8>;	bindings = <&m_then >;};
		combo_there			{timeout-ms = <500>;	key-positions = <0 6 7>;		bindings = <&m_there >;};
		combo_these			{timeout-ms = <500>;	key-positions = <1 6 7 8>;		bindings = <&m_these >;};
		combo_thin			{timeout-ms = <500>;	key-positions = <2 6 7 9>;		bindings = <&m_thin >;};
		combo_this			{timeout-ms = <500>;	key-positions = <1 3 6 7>;		bindings = <&m_this >;};
		combo_thr			{timeout-ms = <500>;	key-positions = <0 6 7 9>;		bindings = <&m_thr >;};
		combo_tion			{timeout-ms = <500>;	key-positions = <2 3 5 6>;		bindings = <&m_tion >;};
		combo_tive			{timeout-ms = <500>;	key-positions = <1 3 6 7 8>;	bindings = <&m_tive >;};
		combo_ttle			{timeout-ms = <500>;	key-positions = <4 5 6 7 9>;	bindings = <&m_ttle >;};
		combo_uch			{timeout-ms = <500>;	key-positions = <5 6 7 9>;		bindings = <&m_uch >;};
		combo_uous			{timeout-ms = <500>;	key-positions = <1 5 6 8>;		bindings = <&m_uous >;};
		combo_was			{timeout-ms = <500>;	key-positions = <1 3 4>;		bindings = <&m_was >;};
		combo_we			{timeout-ms = <500>;	key-positions = <3 4 7>;		bindings = <&m_we >;};
		combo_wh			{timeout-ms = <500>;	key-positions = <3 4 7 8>;		bindings = <&m_wh >;};
		combo_what			{timeout-ms = <500>;	key-positions = <3 4 6 7 8>;	bindings = <&m_what >;};
		combo_when			{timeout-ms = <500>;	key-positions = <2 3 4 6 7>;	bindings = <&m_when >;};
		combo_with			{timeout-ms = <500>;	key-positions = <3 4 6 7>;		bindings = <&m_with >;};
		combo_your			{timeout-ms = <500>;	key-positions = <0 5 6 8>;		bindings = <&m_your >;};

		};

	
	keymap {
		compatible = "zmk,keymap";
		tapping-term-ms = <20>;
		default_layer {
			bindings = <
				&kp R	&kp S	&kp N	&kp I
				&kp A	&kp O	&kp T	&kp E 
												&kp SPACE	&kp BACKSPACE	
												
												&kp UP
									&kp LEFT	&kp C		&kp RIGHT
												&kp DOWN
				>;
			sensor-bindings = <&inc_dec_kp LEFT_ARROW RIGHT_ARROW>;
			};
		};
};
